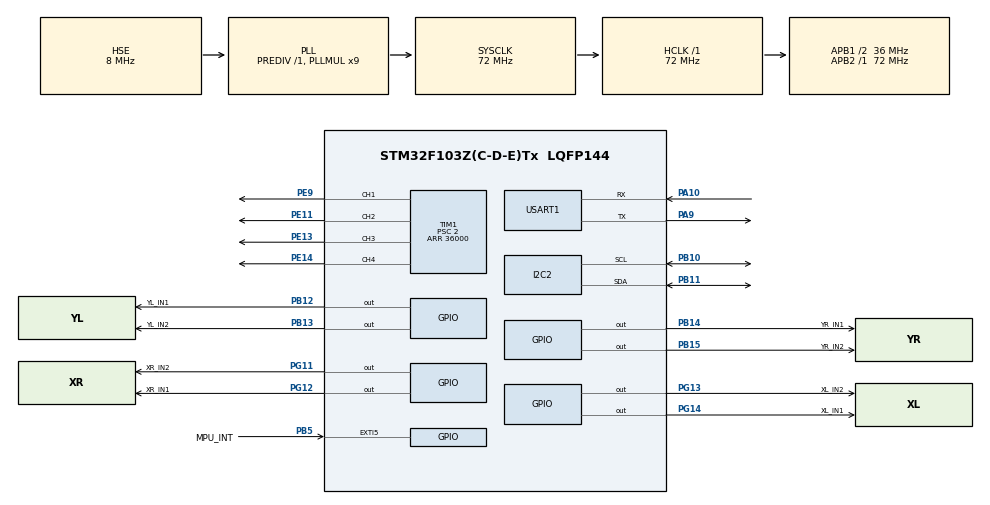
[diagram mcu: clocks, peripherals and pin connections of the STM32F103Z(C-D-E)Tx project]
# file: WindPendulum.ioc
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I2C2.I2C_Mode=I2C_Fast
IWDG.Reload=10
Mcu.Family=STM32F1
Mcu.Name=STM32F103Z(C-D-E)Tx
Mcu.Package=LQFP144
NVIC.EXTI9_5_IRQn=true\:0\:0\:false\:true\:true\:1\:true\:true
NVIC.PriorityGroup=NVIC_PRIORITYGROUP_4
NVIC.TIM2_IRQn=true\:0\:0\:false\:false\:true\:false\:true
NVIC.TimeBase=TIM2_IRQn
NVIC.TimeBaseIP=TIM2
NVIC.USART1_IRQn=true\:0\:0\:false\:true\:true\:2\:true\:true
OSC_IN.Mode=HSE-External-Oscillator
OSC_IN.Signal=RCC_OSC_IN
OSC_OUT.Mode=HSE-External-Oscillator
OSC_OUT.Signal=RCC_OSC_OUT
PA10.Mode=Asynchronous
PA10.Signal=USART1_RX
PA13.Mode=JTAG_5_pins
PA13.Signal=SYS_JTMS-SWDIO
PA14.Mode=JTAG_5_pins
PA14.Signal=SYS_JTCK-SWCLK
PA15.Mode=JTAG_5_pins
PA15.Signal=SYS_JTDI
PA9.Mode=Asynchronous
PA9.Signal=USART1_TX
PB10.Mode=I2C
PB10.Signal=I2C2_SCL
PB11.Mode=I2C
PB11.Signal=I2C2_SDA
PB12.GPIO_Label=YL_IN1
PB12.Signal=GPIO_Output
PB13.GPIO_Label=YL_IN2
PB13.Signal=GPIO_Output
PB14.GPIO_Label=YR_IN1
PB14.Signal=GPIO_Output
PB15.GPIO_Label=YR_IN2
PB15.Signal=GPIO_Output
PB3.Mode=JTAG_5_pins
PB3.Signal=SYS_JTDO-TRACESWO
PB4.Mode=JTAG_5_pins
PB4.Signal=SYS_NJTRST
PB5.GPIO_Label=MPU_INT
PB5.Signal=GPXTI5
PC14-OSC32_IN.Mode=LSE-External-Oscillator
PC14-OSC32_IN.Signal=RCC_OSC32_IN
PC15-OSC32_OUT.Mode=LSE-External-Oscillator
PC15-OSC32_OUT.Signal=RCC_OSC32_OUT
PE11.Signal=S_TIM1_CH2
PE13.Signal=S_TIM1_CH3
PE14.Signal=S_TIM1_CH4
PE9.Signal=S_TIM1_CH1
PG11.GPIO_Label=XR_IN2
PG11.Signal=GPIO_Output
PG12.GPIO_Label=XR_IN1
PG12.Signal=GPIO_Output
PG13.GPIO_Label=XL_IN2
PG13.Signal=GPIO_Output
PG14.GPIO_Label=XL_IN1
PG14.Signal=GPIO_Output
ProjectManager.HeapSize=0x200
ProjectManager.StackSize=0x400
ProjectManager.TargetToolchain=SW4STM32
RCC.AHBFreq_Value=72000000
RCC.APB1CLKDivider=RCC_HCLK_DIV2
RCC.APB1Freq_Value=36000000
RCC.APB1TimFreq_Value=72000000
RCC.APB2Freq_Value=72000000
RCC.APB2TimFreq_Value=72000000
RCC.EnbaleCSS=true
RCC.HCLKFreq_Value=72000000
RCC.PLLMUL=RCC_PLL_MUL9
RCC.PLLSourceVirtual=RCC_PLLSOURCE_HSE
RCC.SYSCLKFreq_VALUE=72000000
RCC.SYSCLKSource=RCC_SYSCLKSOURCE_PLLCLK
RCC.USBFreq_Value=72000000
SH.S_TIM1_CH1.0=TIM1_CH1,PWM Generation1 CH1
SH.S_TIM1_CH2.0=TIM1_CH2,PWM Generation2 CH2
SH.S_TIM1_CH3.0=TIM1_CH3,PWM Generation3 CH3
SH.S_TIM1_CH4.0=TIM1_CH4,PWM Generation4 CH4
TIM1.Channel-PWM\ Generation1\ CH1=TIM_CHANNEL_1
TIM1.Channel-PWM\ Generation2\ CH2=TIM_CHANNEL_2
TIM1.Channel-PWM\ Generation3\ CH3=TIM_CHANNEL_3
TIM1.Channel-PWM\ Generation4\ CH4=TIM_CHANNEL_4
TIM1.CounterMode=TIM_COUNTERMODE_DOWN
TIM1.Period=36000
TIM1.Prescaler=2
USART1.VirtualMode=VM_ASYNC
VP_IWDG_VS_IWDG.Mode=IWDG_Activate
VP_RTC_VS_RTC_Activate.Mode=RTC_Enabled
VP_SYS_VS_tim2.Mode=TIM2
VP_TIM1_VS_ClockSourceINT.Mode=Internal
board=custom

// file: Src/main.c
/* USER CODE BEGIN Header */
/**
  ******************************************************************************
  * @file           : main.c
  * @brief          : Main program body
  ******************************************************************************
  * @attention
  *
  * <h2><center>&copy; Copyright (c) 2021 STMicroelectronics.
  * All rights reserved.</center></h2>
  *
  * This software component is licensed by ST under BSD 3-Clause license,
  * the "License"; You may not use this file except in compliance with the
  * License. You may obtain a copy of the License at:
  *                        opensource.org/licenses/BSD-3-Clause
  *
  ******************************************************************************
  */
/* USER CODE END Header */
#include "main.h"
#include "i2c.h"
#include "iwdg.h"
#include "rtc.h"
#include "tim.h"
#include "usart.h"
#include "gpio.h"

/* USER CODE BEGIN Includes */
#include <elog.h>
#include "WindPendulum.h"
/* USER CODE END Includes */

void SystemClock_Config(void);
static void MX_NVIC_Init(void);

int main(void)
{

  /* MCU Configuration--------------------------------------------------------*/

  /* Reset of all peripherals, Initializes the Flash interface and the Systick. */
  HAL_Init();

  /* USER CODE BEGIN Init */

  /* initialize EasyLogger */
  elog_init();
  /* set EasyLogger log format */
  elog_set_fmt(ELOG_LVL_ASSERT, ELOG_FMT_ALL);
  elog_set_fmt(ELOG_LVL_ERROR, ELOG_FMT_LVL | ELOG_FMT_TAG);
  elog_set_fmt(ELOG_LVL_WARN, ELOG_FMT_LVL | ELOG_FMT_TAG);
  elog_set_fmt(ELOG_LVL_INFO, ELOG_FMT_LVL | ELOG_FMT_TAG);
  elog_set_fmt(ELOG_LVL_DEBUG, ELOG_FMT_LVL | ELOG_FMT_TAG);
  elog_set_fmt(ELOG_LVL_VERBOSE, ELOG_FMT_LVL | ELOG_FMT_TAG);

  /* USER CODE END Init */

  /* Configure the system clock */
  SystemClock_Config();

  /* USER CODE BEGIN SysInit */

  /* start EasyLogger */
  elog_start();

  /* USER CODE END SysInit */

  /* Initialize all configured peripherals */
  MX_GPIO_Init();
  MX_RTC_Init();
  MX_TIM1_Init();
  MX_USART1_UART_Init();
  MX_I2C2_Init();

  /* Initialize interrupts */
  MX_NVIC_Init();
  /* USER CODE BEGIN 2 */
  wind_pendulum_init();

  //启动PWM
  HAL_TIM_PWM_Start(&htim1, TIM_CHANNEL_1);
  HAL_TIM_PWM_Start(&htim1, TIM_CHANNEL_2);
  HAL_TIM_PWM_Start(&htim1, TIM_CHANNEL_3);
  HAL_TIM_PWM_Start(&htim1, TIM_CHANNEL_4);

  MX_IWDG_Init();
  /* USER CODE END 2 */

  /* Infinite loop */
  while (1)
  {

    /* USER CODE BEGIN 3 */
    bool newData = false;
    while (read_fifo(&newData)){
      HAL_IWDG_Refresh(&hiwdg);
    }
    if (newData)
    {
      update_motor_state();
      HAL_IWDG_Refresh(&hiwdg);
    }
  }
  /* USER CODE END 3 */
}

void SystemClock_Config(void)
{
  RCC_OscInitTypeDef RCC_OscInitStruct = {0};
  RCC_ClkInitTypeDef RCC_ClkInitStruct = {0};
  RCC_PeriphCLKInitTypeDef PeriphClkInit = {0};

  /** Initializes the RCC Oscillators according to the specified parameters
  * in the RCC_OscInitTypeDef structure.
  */
  RCC_OscInitStruct.OscillatorType = RCC_OSCILLATORTYPE_LSI|RCC_OSCILLATORTYPE_HSE;
  RCC_OscInitStruct.HSEState = RCC_HSE_ON;
  RCC_OscInitStruct.HSEPredivValue = RCC_HSE_PREDIV_DIV1;
  RCC_OscInitStruct.HSIState = RCC_HSI_ON;
  RCC_OscInitStruct.LSIState = RCC_LSI_ON;
  RCC_OscInitStruct.PLL.PLLState = RCC_PLL_ON;
  RCC_OscInitStruct.PLL.PLLSource = RCC_PLLSOURCE_HSE;
  RCC_OscInitStruct.PLL.PLLMUL = RCC_PLL_MUL9;
  if (HAL_RCC_OscConfig(&RCC_OscInitStruct) != HAL_OK)
  {
    Error_Handler();
  }
  /** Initializes the CPU, AHB and APB buses clocks
  */
  RCC_ClkInitStruct.ClockType = RCC_CLOCKTYPE_HCLK|RCC_CLOCKTYPE_SYSCLK
                              |RCC_CLOCKTYPE_PCLK1|RCC_CLOCKTYPE_PCLK2;
  RCC_ClkInitStruct.SYSCLKSource = RCC_SYSCLKSOURCE_PLLCLK;
  RCC_ClkInitStruct.AHBCLKDivider = RCC_SYSCLK_DIV1;
  RCC_ClkInitStruct.APB1CLKDivider = RCC_HCLK_DIV2;
  RCC_ClkInitStruct.APB2CLKDivider = RCC_HCLK_DIV1;

  if (HAL_RCC_ClockConfig(&RCC_ClkInitStruct, FLASH_LATENCY_2) != HAL_OK)
  {
    Error_Handler();
  }
  PeriphClkInit.PeriphClockSelection = RCC_PERIPHCLK_RTC;
  PeriphClkInit.RTCClockSelection = RCC_RTCCLKSOURCE_LSI;
  if (HAL_RCCEx_PeriphCLKConfig(&PeriphClkInit) != HAL_OK)
  {
    Error_Handler();
  }
  /** Enables the Clock Security System
  */
  HAL_RCC_EnableCSS();
}

/**
  * @brief NVIC Configuration.
  * @retval None
  */
static void MX_NVIC_Init(void)
{
  /* EXTI9_5_IRQn interrupt configuration */
  HAL_NVIC_SetPriority(EXTI9_5_IRQn, 0, 0);
  HAL_NVIC_EnableIRQ(EXTI9_5_IRQn);
  /* USART1_IRQn interrupt configuration */
  HAL_NVIC_SetPriority(USART1_IRQn, 0, 0);
  HAL_NVIC_EnableIRQ(USART1_IRQn);
}

 /**
  * @brief  Period elapsed callback in non blocking mode
  * @note   This function is called  when TIM2 interrupt took place, inside
  * HAL_TIM_IRQHandler(). It makes a direct call to HAL_IncTick() to increment
  * a global variable "uwTick" used as application time base.
  * @param  htim : TIM handle
  * @retval None
  */
void HAL_TIM_PeriodElapsedCallback(TIM_HandleTypeDef *htim)
{
  if (htim->Instance == TIM2) {
    HAL_IncTick();
  }
}

void Error_Handler(void)
{
  __disable_irq();
  while (1)
  {
  }
}

/************************ (C) COPYRIGHT STMicroelectronics *****END OF FILE****/
